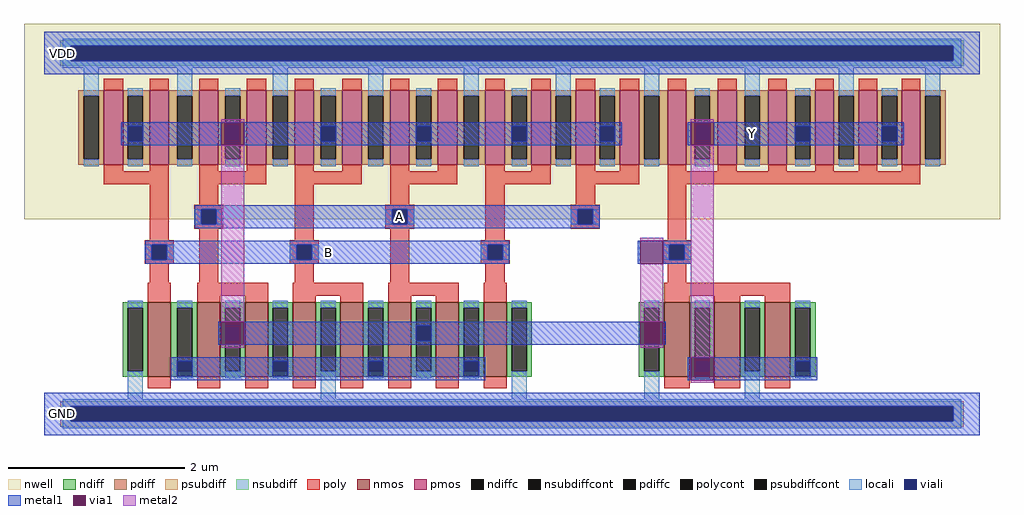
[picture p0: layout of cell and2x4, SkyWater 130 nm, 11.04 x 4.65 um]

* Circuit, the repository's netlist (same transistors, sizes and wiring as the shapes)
** sch_path: /foss/designs/and2x4.sch
.subckt and2x4 A B VDD GND Y
*.PININFO A:I B:I VDD:B GND:B Y:O
XM2 net1 A net2 GND sky130_fd_pr__nfet_01v8 L=0.26 W=3.36 nf=4
XM3 net1 A VDD VDD sky130_fd_pr__pfet_01v8 L=0.22 W=5.04 nf=6
XM5 Y net1 GND GND sky130_fd_pr__nfet_01v8 L=0.29 W=2.52 nf=3
XM4 net1 B VDD VDD sky130_fd_pr__pfet_01v8 L=0.22 W=5.04 nf=6
XM6 Y net1 VDD VDD sky130_fd_pr__pfet_01v8 L=0.21 W=5.04 nf=6
XM1 net2 B GND GND sky130_fd_pr__nfet_01v8 L=0.26 W=3.36 nf=4
.ends

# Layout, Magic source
magic
tech sky130A
magscale 1 2
<< nwell >>
rect -46 440 2162 882
<< nmos >>
rect 234 84 286 252
rect 346 84 398 252
rect 454 84 506 252
rect 562 84 614 252
rect 670 84 722 252
rect 778 84 830 252
rect 886 84 938 252
rect 994 84 1046 252
rect 1402 84 1460 252
rect 1516 84 1574 252
rect 1630 84 1688 252
<< pmos >>
rect 134 564 178 732
rect 238 564 282 732
rect 350 564 394 732
rect 458 564 502 732
rect 566 564 610 732
rect 674 564 718 732
rect 782 564 826 732
rect 890 564 934 732
rect 998 564 1042 732
rect 1102 564 1146 732
rect 1202 564 1246 732
rect 1302 564 1346 732
rect 1410 564 1452 732
rect 1524 564 1566 732
rect 1638 564 1680 732
rect 1744 564 1786 732
rect 1842 564 1884 732
rect 1940 564 1982 732
<< ndiff >>
rect 177 240 234 252
rect 177 96 189 240
rect 223 96 234 240
rect 177 84 234 96
rect 286 240 346 252
rect 286 96 301 240
rect 335 96 346 240
rect 286 84 346 96
rect 398 240 454 252
rect 398 96 409 240
rect 443 96 454 240
rect 398 84 454 96
rect 506 240 562 252
rect 506 96 517 240
rect 551 96 562 240
rect 506 84 562 96
rect 614 240 670 252
rect 614 96 625 240
rect 659 96 670 240
rect 614 84 670 96
rect 722 240 778 252
rect 722 96 733 240
rect 767 96 778 240
rect 722 84 778 96
rect 830 240 886 252
rect 830 96 841 240
rect 875 96 886 240
rect 830 84 886 96
rect 938 240 994 252
rect 938 96 949 240
rect 983 96 994 240
rect 938 84 994 96
rect 1046 240 1103 252
rect 1046 96 1057 240
rect 1091 96 1103 240
rect 1046 84 1103 96
rect 1345 240 1402 252
rect 1345 96 1357 240
rect 1391 96 1402 240
rect 1345 84 1402 96
rect 1460 240 1516 252
rect 1460 96 1471 240
rect 1505 96 1516 240
rect 1460 84 1516 96
rect 1574 240 1630 252
rect 1574 96 1585 240
rect 1619 96 1630 240
rect 1574 84 1630 96
rect 1688 240 1745 252
rect 1688 96 1699 240
rect 1733 96 1745 240
rect 1688 84 1745 96
<< pdiff >>
rect 77 720 134 732
rect 77 576 89 720
rect 123 576 134 720
rect 77 564 134 576
rect 178 720 238 732
rect 178 576 189 720
rect 223 576 238 720
rect 178 564 238 576
rect 282 720 350 732
rect 282 576 301 720
rect 335 576 350 720
rect 282 564 350 576
rect 394 720 458 732
rect 394 576 409 720
rect 443 576 458 720
rect 394 564 458 576
rect 502 720 566 732
rect 502 576 517 720
rect 551 576 566 720
rect 502 564 566 576
rect 610 720 674 732
rect 610 576 625 720
rect 659 576 674 720
rect 610 564 674 576
rect 718 720 782 732
rect 718 576 733 720
rect 767 576 782 720
rect 718 564 782 576
rect 826 720 890 732
rect 826 576 841 720
rect 875 576 890 720
rect 826 564 890 576
rect 934 720 998 732
rect 934 576 949 720
rect 983 576 998 720
rect 934 564 998 576
rect 1042 720 1102 732
rect 1042 576 1057 720
rect 1091 576 1102 720
rect 1042 564 1102 576
rect 1146 720 1202 732
rect 1146 576 1157 720
rect 1191 576 1202 720
rect 1146 564 1202 576
rect 1246 720 1302 732
rect 1246 576 1257 720
rect 1291 576 1302 720
rect 1246 564 1302 576
rect 1346 720 1410 732
rect 1346 576 1357 720
rect 1391 576 1410 720
rect 1346 564 1410 576
rect 1452 720 1524 732
rect 1452 576 1471 720
rect 1505 576 1524 720
rect 1452 564 1524 576
rect 1566 720 1638 732
rect 1566 576 1585 720
rect 1619 576 1638 720
rect 1566 564 1638 576
rect 1680 720 1744 732
rect 1680 576 1699 720
rect 1733 576 1744 720
rect 1680 564 1744 576
rect 1786 720 1842 732
rect 1786 576 1797 720
rect 1831 576 1842 720
rect 1786 564 1842 576
rect 1884 720 1940 732
rect 1884 576 1895 720
rect 1929 576 1940 720
rect 1884 564 1940 576
rect 1982 720 2039 732
rect 1982 576 1993 720
rect 2027 576 2039 720
rect 1982 564 2039 576
<< ndiffc >>
rect 189 96 223 240
rect 301 96 335 240
rect 409 96 443 240
rect 517 96 551 240
rect 625 96 659 240
rect 733 96 767 240
rect 841 96 875 240
rect 949 96 983 240
rect 1057 96 1091 240
rect 1357 96 1391 240
rect 1471 96 1505 240
rect 1585 96 1619 240
rect 1699 96 1733 240
<< pdiffc >>
rect 89 576 123 720
rect 189 576 223 720
rect 301 576 335 720
rect 409 576 443 720
rect 517 576 551 720
rect 625 576 659 720
rect 733 576 767 720
rect 841 576 875 720
rect 949 576 983 720
rect 1057 576 1091 720
rect 1157 576 1191 720
rect 1257 576 1291 720
rect 1357 576 1391 720
rect 1471 576 1505 720
rect 1585 576 1619 720
rect 1699 576 1733 720
rect 1797 576 1831 720
rect 1895 576 1929 720
rect 1993 576 2027 720
<< psubdiff >>
rect 36 17 2080 29
rect 36 -17 60 17
rect 2056 -17 2080 17
rect 36 -29 2080 -17
<< nsubdiff >>
rect 36 833 2080 845
rect 36 799 60 833
rect 2056 799 2080 833
rect 36 787 2080 799
<< psubdiffcont >>
rect 60 -17 2056 17
<< nsubdiffcont >>
rect 60 799 2056 833
<< poly >>
rect 134 732 178 758
rect 238 732 282 758
rect 350 732 394 758
rect 458 732 502 758
rect 566 732 610 758
rect 674 732 718 758
rect 782 732 826 758
rect 890 732 934 758
rect 998 732 1042 758
rect 1102 732 1146 758
rect 1202 732 1246 758
rect 1302 732 1346 758
rect 1410 732 1452 758
rect 1524 732 1566 758
rect 1638 732 1680 758
rect 1744 732 1786 758
rect 1842 732 1884 758
rect 1940 732 1982 758
rect 134 549 178 564
rect 238 549 282 564
rect 134 519 282 549
rect 238 393 282 519
rect 350 549 394 564
rect 458 549 502 564
rect 350 519 502 549
rect 566 549 610 564
rect 674 549 718 564
rect 566 519 718 549
rect 782 549 826 564
rect 890 549 934 564
rect 782 519 934 549
rect 998 549 1042 564
rect 1102 549 1146 564
rect 998 519 1146 549
rect 1202 549 1246 564
rect 1302 549 1346 564
rect 1202 519 1346 549
rect 1410 549 1452 564
rect 1524 549 1566 564
rect 1638 549 1680 564
rect 1744 549 1786 564
rect 1842 549 1884 564
rect 1940 549 1982 564
rect 1410 519 1982 549
rect 350 473 394 519
rect 339 463 405 473
rect 339 429 355 463
rect 389 429 405 463
rect 339 419 405 429
rect 227 383 293 393
rect 227 349 243 383
rect 277 349 293 383
rect 227 339 293 349
rect 238 297 282 339
rect 350 297 394 419
rect 566 393 610 519
rect 782 473 826 519
rect 771 463 837 473
rect 771 429 787 463
rect 821 429 837 463
rect 771 419 837 429
rect 555 383 621 393
rect 555 349 571 383
rect 605 349 621 383
rect 555 339 621 349
rect 566 297 610 339
rect 782 297 826 419
rect 998 393 1042 519
rect 1202 473 1246 519
rect 1191 463 1257 473
rect 1191 429 1207 463
rect 1241 429 1257 463
rect 1191 419 1257 429
rect 1410 393 1452 519
rect 987 383 1053 393
rect 987 349 1003 383
rect 1037 349 1053 383
rect 987 339 1053 349
rect 1398 383 1464 393
rect 1398 349 1414 383
rect 1448 349 1464 383
rect 1398 339 1464 349
rect 998 297 1042 339
rect 1410 297 1452 339
rect 234 252 286 297
rect 346 267 506 297
rect 346 252 398 267
rect 454 252 506 267
rect 562 267 722 297
rect 562 252 614 267
rect 670 252 722 267
rect 778 267 938 297
rect 778 252 830 267
rect 886 252 938 267
rect 994 252 1046 297
rect 1402 267 1688 297
rect 1402 252 1460 267
rect 1516 252 1574 267
rect 1630 252 1688 267
rect 234 58 286 84
rect 346 58 398 84
rect 454 58 506 84
rect 562 58 614 84
rect 670 58 722 84
rect 778 58 830 84
rect 886 58 938 84
rect 994 58 1046 84
rect 1402 58 1460 84
rect 1516 58 1574 84
rect 1630 58 1688 84
<< polycont >>
rect 355 429 389 463
rect 243 349 277 383
rect 787 429 821 463
rect 571 349 605 383
rect 1207 429 1241 463
rect 1003 349 1037 383
rect 1414 349 1448 383
<< locali >>
rect 42 833 2074 849
rect 42 799 60 833
rect 2056 799 2074 833
rect 42 783 2074 799
rect 89 720 123 783
rect 89 560 123 576
rect 189 720 223 736
rect 189 560 223 576
rect 301 720 335 783
rect 301 560 335 576
rect 409 720 443 736
rect 409 560 443 576
rect 517 720 551 783
rect 517 560 551 576
rect 625 720 659 736
rect 625 560 659 576
rect 733 720 767 783
rect 733 560 767 576
rect 841 720 875 736
rect 841 560 875 576
rect 949 720 983 783
rect 949 560 983 576
rect 1057 720 1091 736
rect 1057 560 1091 576
rect 1157 720 1191 783
rect 1157 560 1191 576
rect 1257 720 1291 736
rect 1257 560 1291 576
rect 1357 720 1391 783
rect 1357 560 1391 576
rect 1471 720 1505 736
rect 1471 560 1505 576
rect 1585 720 1619 783
rect 1585 560 1619 576
rect 1699 720 1733 736
rect 1699 560 1733 576
rect 1797 720 1831 783
rect 1797 560 1831 576
rect 1895 720 1929 736
rect 1895 560 1929 576
rect 1993 720 2027 783
rect 1993 560 2027 576
rect 339 429 355 463
rect 389 429 405 463
rect 771 429 787 463
rect 821 429 837 463
rect 1191 429 1207 463
rect 1241 429 1257 463
rect 227 349 243 383
rect 277 349 293 383
rect 555 349 571 383
rect 605 349 621 383
rect 987 349 1003 383
rect 1037 349 1053 383
rect 1398 349 1414 383
rect 1448 349 1464 383
rect 189 240 223 256
rect 189 33 223 96
rect 301 240 335 256
rect 301 80 335 85
rect 409 240 443 256
rect 409 80 443 96
rect 517 240 551 256
rect 517 80 551 85
rect 625 240 659 256
rect 625 33 659 96
rect 733 240 767 256
rect 733 80 767 85
rect 841 240 875 256
rect 841 80 875 96
rect 949 240 983 256
rect 949 80 983 85
rect 1057 240 1091 256
rect 1057 33 1091 96
rect 1357 240 1391 256
rect 1357 33 1391 96
rect 1471 240 1505 256
rect 1471 80 1505 85
rect 1585 240 1619 256
rect 1585 33 1619 96
rect 1699 240 1733 256
rect 1699 80 1733 85
rect 42 17 2074 33
rect 42 -17 60 17
rect 2056 -17 2074 17
rect 42 -33 2074 -17
<< viali >>
rect 60 799 2056 833
rect 189 617 223 651
rect 409 617 443 651
rect 625 617 659 651
rect 841 617 875 651
rect 1057 617 1091 651
rect 1257 617 1291 651
rect 1471 617 1505 651
rect 1699 617 1733 651
rect 1895 617 1929 651
rect 355 429 389 463
rect 787 429 821 463
rect 1207 429 1241 463
rect 243 349 277 383
rect 571 349 605 383
rect 1003 349 1037 383
rect 1414 349 1448 383
rect 301 96 335 119
rect 301 85 335 96
rect 409 165 443 199
rect 517 96 551 119
rect 517 85 551 96
rect 733 96 767 119
rect 733 85 767 96
rect 841 165 875 199
rect 949 96 983 119
rect 949 85 983 96
rect 1471 96 1505 119
rect 1471 85 1505 96
rect 1699 96 1733 119
rect 1699 85 1733 96
rect 60 -17 2056 17
<< metal1 >>
rect 0 833 2116 864
rect 0 799 60 833
rect 2056 799 2116 833
rect 0 768 2116 799
rect 174 651 400 660
rect 452 651 1306 660
rect 174 617 189 651
rect 223 617 400 651
rect 452 617 625 651
rect 659 617 841 651
rect 875 617 1057 651
rect 1091 617 1257 651
rect 1291 617 1306 651
rect 174 608 400 617
rect 452 608 1306 617
rect 1456 608 1462 660
rect 1514 651 1944 660
rect 1514 617 1699 651
rect 1733 617 1895 651
rect 1929 617 1944 651
rect 1514 608 1944 617
rect 340 463 1256 472
rect 340 429 355 463
rect 389 429 787 463
rect 821 429 1207 463
rect 1241 429 1256 463
rect 340 420 1256 429
rect 228 383 1052 392
rect 228 349 243 383
rect 277 349 571 383
rect 605 349 1003 383
rect 1037 349 1052 383
rect 228 340 1052 349
rect 1342 340 1348 392
rect 1400 383 1463 392
rect 1400 349 1414 383
rect 1448 349 1463 383
rect 1400 340 1463 349
rect 394 156 400 208
rect 452 199 1348 208
rect 452 165 841 199
rect 875 165 1348 199
rect 452 156 1348 165
rect 1400 156 1406 208
rect 286 119 998 128
rect 286 85 301 119
rect 335 85 517 119
rect 551 85 733 119
rect 767 85 949 119
rect 983 85 998 119
rect 286 76 998 85
rect 1456 76 1462 128
rect 1514 119 1748 128
rect 1514 85 1699 119
rect 1733 85 1748 119
rect 1514 76 1748 85
rect 0 17 2116 48
rect 0 -17 60 17
rect 2056 -17 2116 17
rect 0 -48 2116 -17
<< via1 >>
rect 400 651 452 660
rect 400 617 409 651
rect 409 617 443 651
rect 443 617 452 651
rect 400 608 452 617
rect 1462 651 1514 660
rect 1462 617 1471 651
rect 1471 617 1505 651
rect 1505 617 1514 651
rect 1462 608 1514 617
rect 1348 340 1400 392
rect 400 199 452 208
rect 400 165 409 199
rect 409 165 443 199
rect 443 165 452 199
rect 400 156 452 165
rect 1348 156 1400 208
rect 1462 119 1514 128
rect 1462 85 1471 119
rect 1471 85 1505 119
rect 1505 85 1514 119
rect 1462 76 1514 85
<< metal2 >>
rect 400 660 452 666
rect 400 208 452 608
rect 1462 660 1514 666
rect 400 150 452 156
rect 1348 392 1400 398
rect 1348 208 1400 340
rect 1348 150 1400 156
rect 1462 128 1514 608
rect 1462 70 1514 76
<< labels >>
rlabel metal1 781 423 827 469 0 A
port 1 nsew
rlabel metal1 619 343 665 389 0 B
port 2 nsew
rlabel metal1 10 780 70 852 0 VDD
port 3 nsew
rlabel metal1 10 -36 70 36 0 GND
port 4 nsew
rlabel metal1 1579 611 1625 657 0 Y
port 5 nsew
<< properties >>
string FIXED_BBOX 0 0 2116 816
<< end >>
